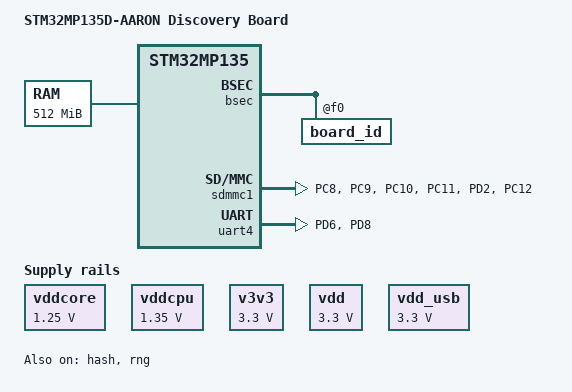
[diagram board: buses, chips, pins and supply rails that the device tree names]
// SPDX-License-Identifier: (GPL-2.0-or-later OR BSD-3-Clause)
/*
 * Copyright (C) 2024, STMicroelectronics - All Rights Reserved
 * Author: STM32CubeMX code generation for STMicroelectronics.
 */

/* For more information on Device Tree configuration, please refer to
 * https://wiki.st.com/stm32mpu/wiki/Category:Device_tree_configuration
 */

 /dts-v1/;
 #include <dt-bindings/pinctrl/stm32-pinfunc.h>
 #include <dt-bindings/clock/stm32mp13-clksrc.h>
 #include "stm32mp13-aaron.dtsi"
 
 #include "stm32mp135.dtsi"
 #include "stm32mp13xd.dtsi"
 #include "stm32mp13-pinctrl.dtsi"
 #include "stm32mp13-ddr.dtsi"
 
/ {
	model = "STM32MP135D-AARON Discovery Board";
	compatible = "st,stm32mp135d-aaron", "st,stm32mp135";

	aliases {
		serial0 = &uart4;
	};

	chosen {
		stdout-path = "serial0:115200n8";
	};

	memory@c0000000 {
		device_type = "memory";
		reg = <0xc0000000 0x20000000>;
	};
 
	clocks {
		clk_hsi: clk-hsi {
			clock-frequency = <64000000>;
		};
		clk_lse: clk-lse {
			clock-frequency = <32768>;
			st,bypass;
		};
		clk_hse: clk-hse {
			clock-frequency = <24000000>;
			st,bypass;
		};
		clk_i2sin: clk-i2sin {
			status = "disabled";
		};
	};

	vddcore: regulator-vddcore {
        compatible = "regulator-fixed";
        regulator-name = "vddcore";
        regulator-min-microvolt = <1250000>;
        regulator-max-microvolt = <1250000>;
        regulator-off-in-suspend;
        regulator-always-on;
	};

	vddcpu: regulator-vddcpu {
		compatible = "regulator-fixed";
		regulator-name = "vddcpu";
		regulator-min-microvolt = <1350000>;
		regulator-max-microvolt = <1350000>;
        regulator-off-in-suspend;
        regulator-always-on;
	};

	v3v3: regulator-v3v3 {
        compatible = "regulator-fixed";
        regulator-name = "v3v3";
        regulator-min-microvolt = <3300000>;
        regulator-max-microvolt = <3300000>;
        regulator-off-in-suspend;
        regulator-always-on;
    };

	vdd: regulator-vdd {
		compatible = "regulator-fixed";
		regulator-name = "vdd";
		regulator-min-microvolt = <3300000>;
		regulator-max-microvolt = <3300000>;
		regulator-off-in-suspend;
		regulator-always-on;
	};

	vdd_usb: regulator-vdd-usb {
		compatible = "regulator-fixed";
		regulator-name = "vdd_usb";
		regulator-min-microvolt = <3300000>;
		regulator-max-microvolt = <3300000>;
		regulator-off-in-suspend;
		regulator-always-on;
	};
};

&bsec {
	board_id: board_id@f0 {
		reg = <0xf0 0x4>;
		st,non-secure-otp;
	};
};

&cpu0 {
	cpu-supply = <&vddcpu>;
};

&hash {
	status = "okay";
};

&rng {
	status = "okay";
};

&pwr_regulators {
	vdd-supply = <&vdd>;
	vdd_3v3_usbfs-supply = <&vdd_usb>;
};

&rcc {
	st,clksrc = <
		CLK_MPU_PLL1P
		CLK_AXI_PLL2P
		CLK_MLAHBS_PLL3
		CLK_CKPER_DISABLED
		CLK_SDMMC1_PLL4P
		CLK_STGEN_HSE
		CLK_USBO_USBPHY
		CLK_UART4_HSI
		CLK_RNG1_PLL4R
	>;
	st,clkdiv = <
		DIV(DIV_MPU, 1)
		DIV(DIV_AXI, 0)
		DIV(DIV_MLAHB, 0)
		DIV(DIV_APB1, 1)
		DIV(DIV_APB2, 1)
		DIV(DIV_APB3, 1)
		DIV(DIV_APB4, 1)
		DIV(DIV_APB5, 2)
		DIV(DIV_APB6, 1)
	>;
	st,pll_vco {
		pll1_vco_1300Mhz: pll1-vco-1300Mhz {
			src = < CLK_PLL12_HSE >;
			divmn = < 2 80 >;
			frac = < 0x800 >;
		};
		pll2_vco_1066Mhz: pll2-vco-1066Mhz {
			src = < CLK_PLL12_HSE >;
			divmn = < 2 65 >;
			frac = < 0x1400 >;
		};
		pll3_vco_400Mhz: pll3-vco-400Mhz {
			src = < CLK_PLL3_HSE >;
			divmn = < 2 49 >;
		};
		pll4_vco_600Mhz: pll4-vco-600Mhz {
			src = < CLK_PLL4_HSE >;
			divmn = < 1 49 >;
		};
	};

	pll1:st,pll@0 {
		compatible = "st,stm32mp1-pll";
		reg = <0>;

		st,pll = < &pll1_cfg1 >;

		pll1_cfg1: pll1_cfg1 {
			st,pll_vco = < &pll1_vco_1300Mhz >;
			st,pll_div_pqr = < 0 1 1 >;
		};
	};

	pll2:st,pll@1 {
		compatible = "st,stm32mp1-pll";
		reg = <1>;

		st,pll = < &pll2_cfg1 >;

		pll2_cfg1: pll2_cfg1 {
			st,pll_vco = < &pll2_vco_1066Mhz >;
			st,pll_div_pqr = < 1 1 0 >;
		};
	};

	pll3:st,pll@2 {
		compatible = "st,stm32mp1-pll";
		reg = <2>;

		st,pll = < &pll3_cfg1 >;

		pll3_cfg1: pll3_cfg1 {
			st,pll_vco = < &pll3_vco_400Mhz >;
			st,pll_div_pqr = < 1 1 1 >;
		};
	};

	pll4:st,pll@3 {
		compatible = "st,stm32mp1-pll";
		reg = <3>;

		st,pll = < &pll4_cfg1 >;

		pll4_cfg1: pll4_cfg1 {
			st,pll_vco = < &pll4_vco_600Mhz >;
			st,pll_div_pqr = < 11 59 5 >;
		};
	};
};

&sdmmc1 {
	pinctrl-names = "default";
	pinctrl-0 = <&sdmmc1_pins_a>;
	status = "okay";
};

&uart4 {
	pinctrl-names = "default";
	pinctrl-0 = <&uart4_pins_a>;
	status = "okay";
};

&pinctrl {
	sdmmc1_pins_a: sdmmc1-0 {
		pins1 {
			pinmux = <STM32_PINMUX('C', 8, AF12)>, /* SDMMC1_D0 */
					<STM32_PINMUX('C', 9, AF12)>, /* SDMMC1_D1 */
					<STM32_PINMUX('C', 10, AF12)>, /* SDMMC1_D2 */
					<STM32_PINMUX('C', 11, AF12)>, /* SDMMC1_D3 */
					<STM32_PINMUX('D', 2, AF12)>; /* SDMMC1_CMD */
			bias-disable;
			drive-push-pull;
			slew-rate = <1>;
		};
		pins2 {
			pinmux = <STM32_PINMUX('C', 12, AF12)>; /* SDMMC1_CK */
			bias-disable;
			drive-push-pull;
			slew-rate = <3>;
		};
	};

	uart4_pins_a: uart4-0 {
		pins1 {
			pinmux = <STM32_PINMUX('D', 6, AF8)>; /* UART4_TX */
			bias-pull-up;
			drive-push-pull;
			slew-rate = <0>;
		};
		pins2 {
			pinmux = <STM32_PINMUX('D', 8, AF8)>; /* UART4_RX */
			bias-disable;
		};
	};
};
